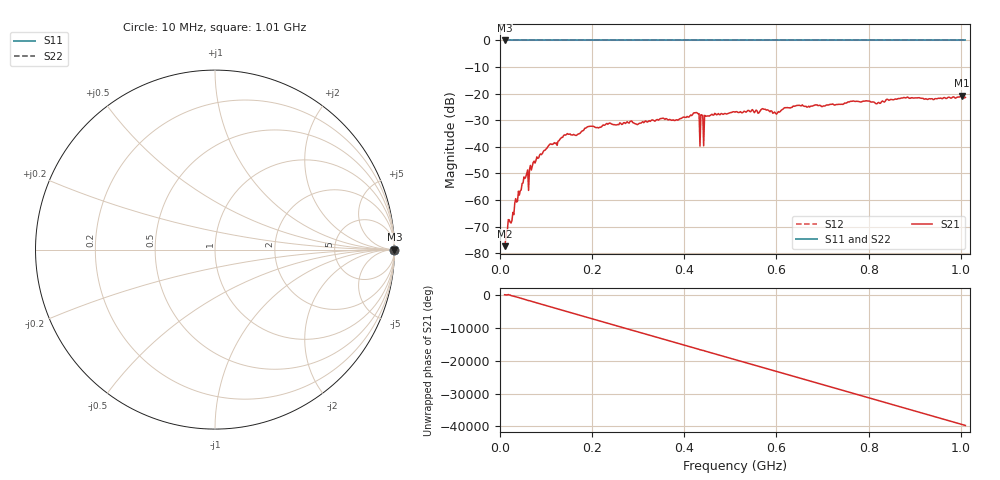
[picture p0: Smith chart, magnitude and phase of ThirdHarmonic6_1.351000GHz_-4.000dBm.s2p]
! 8/16/2025 3:12:15 PM
! C:\ANRITSUVNA\TEMP\TEMP.S2P
! CHANNEL.1
! TR.MEASUREMENT
! RAW.DATA
! RF.CORRECTION.OFF
! AVERAGING.OFF
! IF.BANDWIDTH: 5KHZ
! SWEEPTYPE:  FREQ.SWEEP(Linear)
! Reference Plane Port Info
! PORT:  PORT1  PORT2
! DISTANCE:  0  m  0  m
! TIME:  0  s  0  s
! PHASE.OFFSET:  0  deg.  0  deg.
! LOSS:  0  dB  0  dB
! REF.LOSS:  0  dB  0  dB
! REF.FREQ:  0  Hz  0  Hz
! Power Info
! POWER:  -20  dBm  -20  dBm
! EFF.POWER:  -20  dBm  -20  dBm
! SOURCE.ATTEN:  0  dB  0  dB
! TEST.ATTEN:  0  dB  0  dB
# GHZ S RI R 50.0
! FREQ.GHZ  S11RE  S11IM  S21RE  S21IM  S12RE  S12IM  S22RE  S22IM
!; PortSelection: Port_12
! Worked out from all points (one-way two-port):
!   501 points, 10 MHz to 1.01 GHz, reference 50 ohm
!   highest |S21| = -20.82 dB at 1.002 GHz (marker M1); lowest = -77.4 dB at 10 MHz (marker M2)
!   lowest |S11| = 0.0 dB at 10 MHz (marker M3)
!   |S11| at or under -10 dB: nowhere
!   |S22| runs from 0.0 to 0.0 dB; largest |S21 - S12| = 1.1
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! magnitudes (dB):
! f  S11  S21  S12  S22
! 10 MHz  0.0  -77.4  0.0  0.0
! 18 MHz  0.0  -67.4  0.0  0.0
! 26 MHz  0.0  -67.7  0.0  0.0
! 36 MHz  0.0  -60.8  0.0  0.0
! 56 MHz  0.0  -51.3  0.0  0.0
! 66 MHz  0.0  -47.0  0.0  0.0
! 76 MHz  0.0  -46.1  0.0  0.0
! 142 MHz  0.0  -35.6  0.0  0.0
! 178 MHz  0.0  -34.0  0.0  0.0
! 344 MHz  0.0  -30.0  0.0  0.0
! 426 MHz  0.0  -27.1  0.0  0.0
! 436 MHz  0.0  -27.9  0.0  0.0
! 438 MHz  0.0  -28.1  0.0  0.0
! 440 MHz  0.0  -28.1  0.0  0.0
! 446 MHz  0.0  -28.4  0.0  0.0
! 448 MHz  0.0  -28.5  0.0  0.0
! 510 MHz  0.0  -27.0  0.0  0.0
! 598 MHz  0.0  -27.4  0.0  0.0
! 678 MHz  0.0  -24.7  0.0  0.0
! 844 MHz  0.0  -22.5  0.0  0.0
! 1.002 GHz  0.0  -20.8  0.0  0.0
! 1.01 GHz  0.0  -21.4  0.0  0.0
